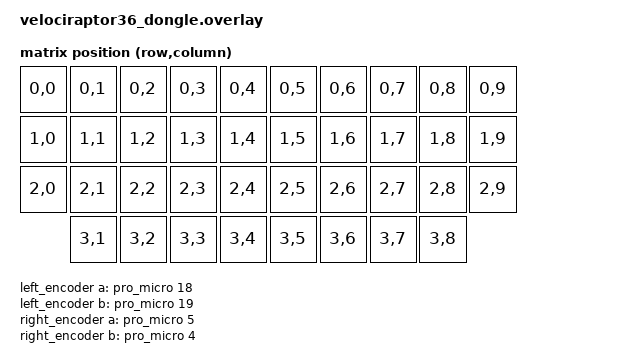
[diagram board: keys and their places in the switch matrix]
/*
 * Copyright (c) 2026
 *
 * SPDX-License-Identifier: MIT
 */

#include <dt-bindings/gpio/gpio.h>
#include <dt-bindings/i2c/i2c.h>
#include <dt-bindings/zmk/matrix_transform.h>
#include "velociraptor36-layouts.dtsi"

&blue_led {
    status = "disabled";
};

&pinctrl {
    dongle_i2c0_default: dongle_i2c0_default {
        group1 {
            psels = <NRF_PSEL(TWIM_SDA, 0, 17)>,
                    <NRF_PSEL(TWIM_SCL, 0, 20)>;
        };
    };

    dongle_i2c0_sleep: dongle_i2c0_sleep {
        group1 {
            psels = <NRF_PSEL(TWIM_SDA, 0, 17)>,
                    <NRF_PSEL(TWIM_SCL, 0, 20)>;
            low-power-enable;
        };
    };
};

&i2c0 {
    compatible = "nordic,nrf-twim";
    status = "okay";
    pinctrl-0 = <&dongle_i2c0_default>;
    pinctrl-1 = <&dongle_i2c0_sleep>;
    pinctrl-names = "default", "sleep";
    clock-frequency = <I2C_BITRATE_STANDARD>;

    oled: ssd1306@3c {
        compatible = "solomon,ssd1306fb";
        reg = <0x3c>;
        width = <128>;
        height = <32>;
        segment-offset = <0>;
        page-offset = <0>;
        display-offset = <0>;
        multiplex-ratio = <31>;
        segment-remap;
        com-invdir;
        com-sequential;
        prechargep = <0x22>;
    };
};

/ {
    chosen {
        zmk,kscan = &dongle_kscan;
        zmk,physical-layout = &velociraptor36_layout;
        zephyr,display = &oled;
    };

    default_transform: default_transform {
        compatible = "zmk,matrix-transform";
        columns = <10>;
        rows = <4>;
// | SW0  | SW1  | SW2  | SW3  | SW4  |   | SW5  | SW6  | SW7  | SW8  | SW9  |
// | SW10 | SW11 | SW12 | SW13 | SW14 |   | SW15 | SW16 | SW17 | SW18 | SW19 |
// | SW20 | SW21 | SW22 | SW23 | SW24 |   | SW25 | SW26 | SW27 | SW28 | SW29 |
//       | SW30 | SW31 | SW32 | ENC |   | SW34 | SW35 | SW36 | SW37 |
        map = <
RC(0,0) RC(0,1) RC(0,2) RC(0,3) RC(0,4)    RC(0,5) RC(0,6) RC(0,7) RC(0,8) RC(0,9)
RC(1,0) RC(1,1) RC(1,2) RC(1,3) RC(1,4)    RC(1,5) RC(1,6) RC(1,7) RC(1,8) RC(1,9)
RC(2,0) RC(2,1) RC(2,2) RC(2,3) RC(2,4)    RC(2,5) RC(2,6) RC(2,7) RC(2,8) RC(2,9)
        RC(3,1) RC(3,2) RC(3,3) RC(3,4)    RC(3,5) RC(3,6) RC(3,7) RC(3,8)
        >;
    };

    left_encoder: left_encoder {
        compatible = "alps,ec11";
        a-gpios = <&pro_micro 18 (GPIO_ACTIVE_HIGH | GPIO_PULL_UP)>;
        b-gpios = <&pro_micro 19 (GPIO_ACTIVE_HIGH | GPIO_PULL_UP)>;
        steps = <80>;
        status = "disabled";
    };

    right_encoder: right_encoder {
        compatible = "alps,ec11";
        a-gpios = <&pro_micro 5 (GPIO_ACTIVE_HIGH | GPIO_PULL_UP)>;
        b-gpios = <&pro_micro 4 (GPIO_ACTIVE_HIGH | GPIO_PULL_UP)>;
        steps = <80>;
        status = "disabled";
    };

    sensors: sensors {
        compatible = "zmk,keymap-sensors";
        sensors = <&left_encoder &right_encoder>;
        triggers-per-rotation = <20>;
    };

    dongle_kscan: dongle_kscan {
        compatible = "zmk,kscan-mock";
        columns = <10>;
        rows = <4>;
        events = <0>;
    };
};
